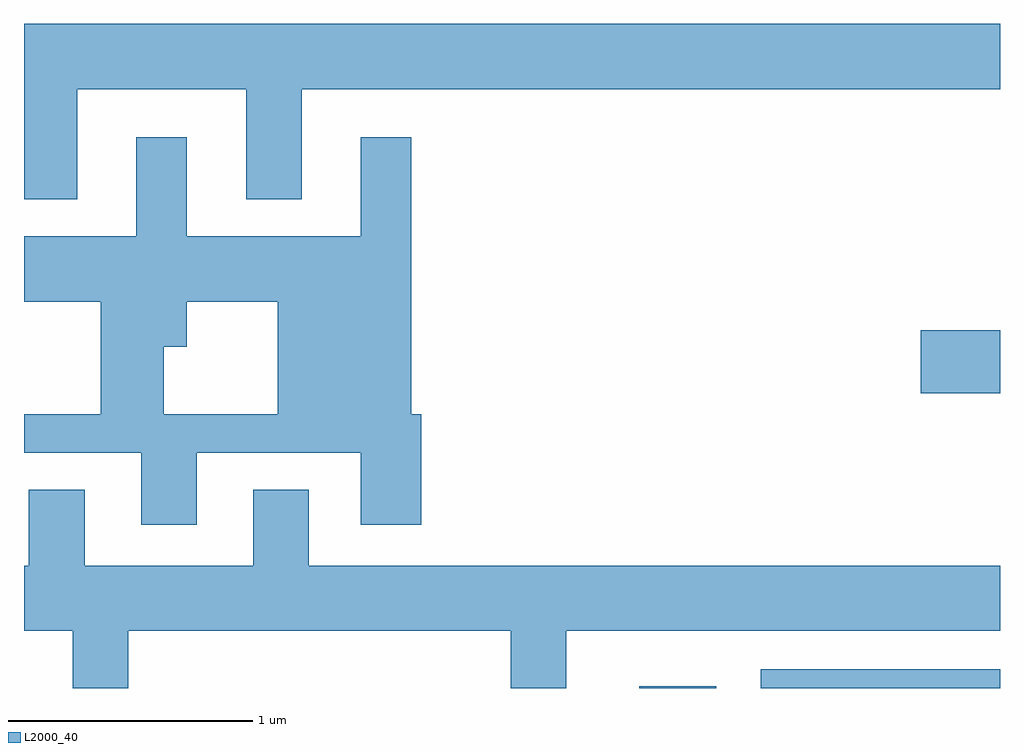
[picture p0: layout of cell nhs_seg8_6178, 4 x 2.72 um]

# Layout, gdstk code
import gdstk
lib = gdstk.Library(unit=1e-6, precision=1e-09)
def R(c, l, rs):  # rectangles x0, y0, x1, y1
    for r in rs: c.add(gdstk.rectangle(r[:2], r[2:], *l))
def P(c, l, *ps):  # polygons
    for p in ps: c.add(gdstk.Polygon(p, *l))
L2000_40 = (2000, 40)

nhs_seg8_6178 = lib.new_cell('nhs_seg8_6178')
R(nhs_seg8_6178, L2000_40, [(372.133,1898.342,372.449,1898.349), (372.631,1898.342,373.611,1898.419), (373.286,1899.551,373.611,1899.809)])
P(nhs_seg8_6178, L2000_40, [(369.829,1900.796),(370.521,1900.796),(370.521,1900.346),(370.749,1900.346),(370.749,1900.796),(373.611,1900.796),(373.611,1901.064),(369.611,1901.064),(369.611,1900.346),(369.829,1900.346)],
  [(370.319,1899.306),(370.991,1899.306),(370.991,1899.011),(371.239,1899.011),(371.239,1899.464),(371.199,1899.464),(371.199,1900.599),(370.991,1900.599),(370.991,1900.194),(370.279,1900.194),(370.279,1900.599),(370.071,1900.599),(370.071,1900.194),(369.611,1900.194),(369.611,1899.926),(369.926,1899.926),(369.926,1899.464),(370.184,1899.464),(370.184,1899.741),(370.279,1899.741),(370.279,1899.926),(370.651,1899.926),(370.651,1899.464),(370.184,1899.464),(369.926,1899.464),(369.611,1899.464),(369.611,1899.306),(370.091,1899.306),(370.091,1899.011),(370.319,1899.011)],
  [(370.039,1898.576),(371.606,1898.576),(371.606,1898.342),(371.834,1898.342),(371.834,1898.576),(373.611,1898.576),(373.611,1898.844),(370.779,1898.844),(370.779,1899.154),(370.551,1899.154),(370.551,1898.844),(369.859,1898.844),(369.859,1899.154),(369.631,1899.154),(369.631,1898.844),(369.611,1898.844),(369.611,1898.576),(369.811,1898.576),(369.811,1898.342),(370.039,1898.342)])

lib.write_gds('nhs_seg8_6178.gds')
